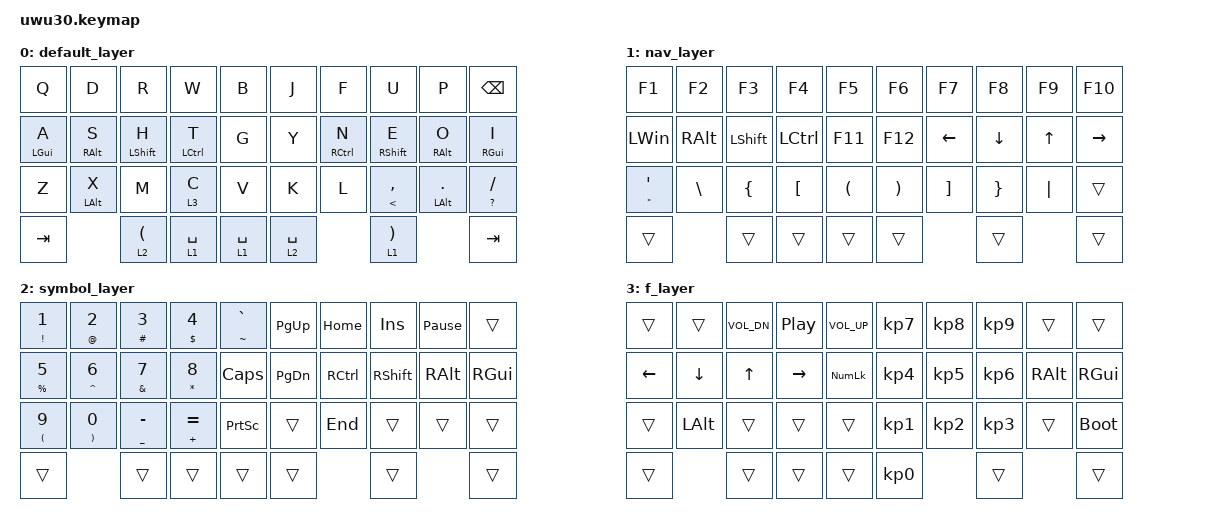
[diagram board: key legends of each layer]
/*
 * Copyright (c) 2023 The ZMK Contributors
 *
 * SPDX-License-Identifier: MIT
 */

#include <behaviors.dtsi>
#include <dt-bindings/zmk/keys.h>

/ {
    combos {
        compatible = "zmk,combos";

        qd_escp {
            timeout-ms = <100>;
            key-positions = <1 0>;
            bindings = <&kp ESC>;
            layers = <0>;
        };

        oi_quot {
            timeout-ms = <100>;
            key-positions = <18 19>;
            bindings = <&mt DOUBLE_QUOTES SINGLE_QUOTE>;
            layers = <0>;
        };

        pbs_scln {
            bindings = <&mt COLON SEMI>;
            key-positions = <8 9>;
            layers = <0>;
        };

        zx_delt {
            bindings = <&kp DELETE>;
            key-positions = <20 21>;
            layers = <0>;
        };

        vk_entr {
            bindings = <&kp ENTER>;
            key-positions = <24 25>;
            layers = <0>;
        };

        qh_pscr {
            bindings = <&kp PRINTSCREEN>;
            key-positions = <0 12>;
            layers = <0>;
        };
    };
};

&mt {
    tapping-term-ms = <180>;
    flavor = "balanced";
};

/ {
    macros {
        shift: with_lshift {
            compatible = "zmk,behavior-macro-one-param";
            #binding-cells = <1>;
            bindings =
                <&macro_press>,
                <&kp LSHFT>,
                <&macro_tap>,
                <&macro_param_1to1 &kp MACRO_PLACEHOLDER>,
                <&macro_release>,
                <&kp LSHFT>;

            label = "SHIFTKEY_PRESS_WITH_LEFT_SHIFT_MODIFIER";
        };

        as: autoshift {
            compatible = "zmk,behavior-macro-one-param";
            #binding-cells = <1>;
            bindings =
                <&macro_press>,
                <&macro_param_1to1 &macro_param_1to2 &as_ht MACRO_PLACEHOLDER MACRO_PLACEHOLDER>,
                <&macro_pause_for_release>,
                <&macro_release>,
                <&macro_param_1to1 &macro_param_1to2 &as_ht MACRO_PLACEHOLDER MACRO_PLACEHOLDER>;

            label = "AUTOSHIFT_KEYPRESS";
        };
    };

    behaviors {
        as_ht: autoshift_hold_tap {
            compatible = "zmk,behavior-hold-tap";
            label = "AUTOSHIFT_HOLD_TAP";
            bindings = <&shift>, <&kp>;

            #binding-cells = <2>;
            tapping-term-ms = <170>;
            flavor = "balanced";
        };

        hrm_gl: homerow_gui_left {
            compatible = "zmk,behavior-hold-tap";
            label = "HOMEROW_GUI_LEFT";
            bindings = <&kp>, <&kp>;

            #binding-cells = <2>;
            tapping-term-ms = <250>;
            hold-trigger-key-positions = <16 17 18 28 15 19 25 26 27 34 33 35 29 36 9 8 7 6 5>;
            flavor = "balanced";
            require-prior-idle-ms = <100>;
            hold-trigger-on-release;
        };

        hrm_al: homerow_alt_left {
            compatible = "zmk,behavior-hold-tap";
            label = "HOMEROW_ALT_LEFT";
            bindings = <&kp>, <&kp>;

            #binding-cells = <2>;
            tapping-term-ms = <220>;
            flavor = "balanced";
            hold-trigger-key-positions = <16 17 19 5 15 25 33 34 35 36 29 28 27 26 18 9 8 7 6>;
            require-prior-idle-ms = <100>;
            hold-trigger-on-release;
        };

        hrm_sl: homerow_shift_left {
            compatible = "zmk,behavior-hold-tap";
            label = "HOMEROW_SHIFT_LEFT";
            bindings = <&kp>, <&kp>;

            #binding-cells = <2>;
            tapping-term-ms = <140>;
            flavor = "balanced";
            hold-trigger-key-positions = <16 18 19 28 15 25 33 34 35 5 6 7 8 9 17 26 27 29 36>;
            require-prior-idle-ms = <100>;
            hold-trigger-on-release;
        };

        hrm_cl: homerow_control_left {
            compatible = "zmk,behavior-hold-tap";
            label = "HOMEROW_CONTROL_LEFT";
            bindings = <&kp>, <&kp>;

            #binding-cells = <2>;
            tapping-term-ms = <170>;
            flavor = "balanced";
            hold-trigger-key-positions = <5 6 7 8 9 15 16 17 18 19 25 26 27 28 29 33 34 35 36>;
            require-prior-idle-ms = <100>;
            hold-trigger-on-release;
        };

        hrm_gr: homerow_gui_rite {
            compatible = "zmk,behavior-hold-tap";
            label = "HOMEROW_GUI_RIGHT";
            bindings = <&kp>, <&kp>;

            #binding-cells = <2>;
            tapping-term-ms = <250>;
            flavor = "balanced";
            require-prior-idle-ms = <100>;
            hold-trigger-on-release;
            hold-trigger-key-positions = <4 14 24 32 31 30 20 22 21 23 13 12 11 10 0 1 2 3>;
        };

        hrm_ar: homerow_alt_rite {
            compatible = "zmk,behavior-hold-tap";
            label = "HOMEROW_ALT_RIGHT";
            bindings = <&kp>, <&kp>;

            #binding-cells = <2>;
            tapping-term-ms = <220>;
            flavor = "balanced";
            require-prior-idle-ms = <100>;
            hold-trigger-on-release;
            hold-trigger-key-positions = <32 24 14 4 0 1 2 3 10 11 12 13 20 21 22 23 30 31>;
        };

        hrm_sr: homerow_shift_rite {
            compatible = "zmk,behavior-hold-tap";
            label = "HOMEROW_SHIFT_RIGHT";
            bindings = <&kp>, <&kp>;

            #binding-cells = <2>;
            tapping-term-ms = <140>;
            flavor = "balanced";
            require-prior-idle-ms = <100>;
            hold-trigger-on-release;
            hold-trigger-key-positions = <4 14 24 32 0 1 2 10 11 12 20 21 22 30 31 3 13 23>;
        };

        hrm_cr: homerow_control_rite {
            compatible = "zmk,behavior-hold-tap";
            label = "HOMEROW_CONTROL_RIGHT";
            bindings = <&kp>, <&kp>;

            #binding-cells = <2>;
            tapping-term-ms = <170>;
            flavor = "balanced";
            require-prior-idle-ms = <100>;
            hold-trigger-on-release;
            hold-trigger-key-positions = <0 1 2 3 4 10 11 12 13 14 20 21 22 23 30 31 32 24>;
        };
    };

    keymap {
        compatible = "zmk,keymap";

        default_layer {
            bindings = <
&kp Q           &kp D               &kp R                   &kp W            &kp B        &kp J        &kp F            &kp U                    &kp P                &kp BACKSPACE
&hrm_gl LGUI A  &hrm_al RALT S      &hrm_sl LSHFT H         &hrm_cl LCTRL T  &kp G        &kp Y        &hrm_cr RCTRL N  &hrm_sr RSHFT E          &hrm_ar RALT O       &hrm_gr RGUI I
&kp Z           &hrm_al LEFT_ALT X  &kp M                   &lt 3 C          &kp V        &kp K        &kp L            &mt LESS_THAN COMMA      &hrm_ar LALT PERIOD  &mt QUESTION SLASH
&kp TAB                             &lt 2 LEFT_PARENTHESIS  &lt 1 SPACE      &lt 1 SPACE  &lt 2 SPACE                   &lt 1 RIGHT_PARENTHESIS                       &kp TAB
            >;
        };

        nav_layer {
            bindings = <
&kp F1                          &kp F2         &kp F3     &kp F4            &kp F5    &kp F6    &kp F7    &kp F8    &kp F9        &kp F10
&kp LEFT_WIN                    &kp RIGHT_ALT  &kp LSHFT  &kp LCTRL         &kp F11   &kp F12   &kp LEFT  &kp DOWN  &kp UP_ARROW  &kp RIGHT
&mt DOUBLE_QUOTES SINGLE_QUOTE  &kp BSLH       &kp LBRC   &kp LEFT_BRACKET  &kp LPAR  &kp RPAR  &kp RBKT  &kp RBRC  &kp PIPE      &trans
&trans                                         &trans     &trans            &trans    &trans              &trans                  &trans
            >;
        };

        symbol_layer {
            bindings = <
&mt EXCL NUMBER_1  &mt AT NUMBER_2     &mt HASH NUMBER_3  &mt DOLLAR NUMBER_4  &mt TILDE GRAVE  &kp PG_UP  &kp HOME   &kp INS    &kp PAUSE_BREAK  &trans
&mt PERCENT N5     &mt CARET NUMBER_6  &mt AMPS N7        &mt ASTRK N8         &kp CAPS         &kp PG_DN  &kp RCTRL  &kp RSHFT  &kp RIGHT_ALT    &kp RGUI
&mt LPAR N9        &mt RPAR N0         &mt UNDER MINUS    &mt PLUS EQUAL       &kp PRINTSCREEN  &trans     &kp END    &trans     &trans           &trans
&trans                                 &trans             &trans               &trans           &trans                &trans                      &trans
            >;
        };

        f_layer {
            bindings = <
&trans    &trans          &kp C_VOL_DN  &kp C_PLAY_PAUSE  &kp C_VOLUME_UP  &kp KP_NUMBER_7  &kp KP_NUMBER_8  &kp KP_NUMBER_9  &trans         &trans
&kp LEFT  &kp DOWN_ARROW  &kp UP_ARROW  &kp RIGHT         &kp KP_NUMLOCK   &kp KP_NUMBER_4  &kp KP_NUMBER_5  &kp KP_NUMBER_6  &kp RIGHT_ALT  &kp RGUI
&trans    &kp LEFT_ALT    &trans        &trans            &trans           &kp KP_NUMBER_1  &kp KP_NUMBER_2  &kp KP_NUMBER_3  &trans         &bootloader
&trans                    &trans        &trans            &trans           &kp KP_NUMBER_0                   &trans                          &trans
            >;
        };
    };
};
